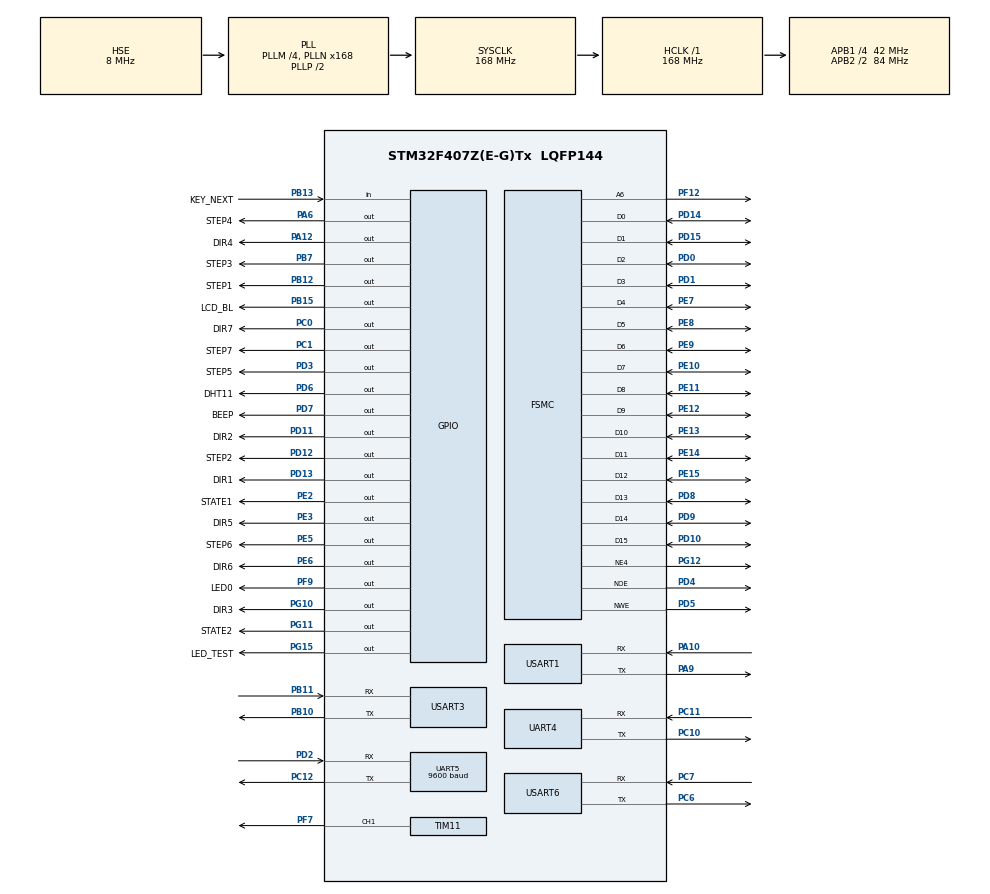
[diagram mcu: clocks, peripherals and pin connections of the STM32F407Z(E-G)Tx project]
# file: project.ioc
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FSMC.BusTurnAroundDuration1=0
FSMC.DataSetupTime1=60
FSMC.ExtendedAddressSetupTime1=8
FSMC.ExtendedBusTurnAroundDuration1=0
FSMC.ExtendedDataSetupTime1=8
FSMC.ExtendedMode1=FSMC_EXTENDED_MODE_ENABLE
Mcu.Family=STM32F4
Mcu.Name=STM32F407Z(E-G)Tx
Mcu.Package=LQFP144
NVIC.PriorityGroup=NVIC_PRIORITYGROUP_4
NVIC.UART4_IRQn=true\:0\:0\:false\:false\:true\:true\:true
NVIC.UART5_IRQn=true\:0\:0\:false\:false\:true\:true\:true
NVIC.USART1_IRQn=true\:1\:0\:true\:false\:true\:true\:true
NVIC.USART3_IRQn=true\:0\:0\:false\:false\:true\:true\:true
NVIC.USART6_IRQn=true\:1\:0\:true\:false\:true\:true\:true
PA10.Mode=Asynchronous
PA10.Signal=USART1_RX
PA12.GPIO_Label=DIR4
PA12.GPIO_Speed=GPIO_SPEED_FREQ_HIGH
PA12.PinState=GPIO_PIN_SET
PA12.Signal=GPIO_Output
PA13.Mode=Serial_Wire
PA13.Signal=SYS_JTMS-SWDIO
PA14.Mode=Serial_Wire
PA14.Signal=SYS_JTCK-SWCLK
PA6.GPIO_Label=STEP4
PA6.GPIO_Speed=GPIO_SPEED_FREQ_HIGH
PA6.Signal=GPIO_Output
PA9.Mode=Asynchronous
PA9.Signal=USART1_TX
PB10.Mode=Asynchronous
PB10.Signal=USART3_TX
PB11.Mode=Asynchronous
PB11.Signal=USART3_RX
PB12.GPIO_Label=STEP1
PB12.GPIO_Speed=GPIO_SPEED_FREQ_HIGH
PB12.PinState=GPIO_PIN_RESET
PB12.Signal=GPIO_Output
PB13.GPIO_Label=KEY_NEXT
PB13.Signal=GPIO_Input
PB15.GPIO_Label=LCD_BL
PB15.GPIO_Speed=GPIO_SPEED_FREQ_LOW
PB15.Signal=GPIO_Output
PB7.GPIO_Label=STEP3
PB7.GPIO_Speed=GPIO_SPEED_FREQ_HIGH
PB7.Signal=GPIO_Output
PC0.GPIO_Label=DIR7
PC0.GPIO_Speed=GPIO_SPEED_FREQ_HIGH
PC0.PinState=GPIO_PIN_SET
PC0.Signal=GPIO_Output
PC1.GPIO_Label=STEP7
PC1.GPIO_Speed=GPIO_SPEED_FREQ_HIGH
PC1.Signal=GPIO_Output
PC10.Mode=Asynchronous
PC10.Signal=UART4_TX
PC11.Mode=Asynchronous
PC11.Signal=UART4_RX
PC12.Mode=Asynchronous
PC12.Signal=UART5_TX
PC14-OSC32_IN.Mode=LSE-External-Oscillator
PC14-OSC32_IN.Signal=RCC_OSC32_IN
PC15-OSC32_OUT.Mode=LSE-External-Oscillator
PC15-OSC32_OUT.Signal=RCC_OSC32_OUT
PC6.Mode=Asynchronous
PC6.Signal=USART6_TX
PC7.Mode=Asynchronous
PC7.Signal=USART6_RX
PD0.Signal=FSMC_D2_DA2
PD1.Signal=FSMC_D3_DA3
PD10.Signal=FSMC_D15_DA15
PD11.GPIO_Label=DIR2
PD11.GPIO_Speed=GPIO_SPEED_FREQ_HIGH
PD11.PinState=GPIO_PIN_SET
PD11.Signal=GPIO_Output
PD12.GPIO_Label=STEP2
PD12.GPIO_Speed=GPIO_SPEED_FREQ_HIGH
PD12.Signal=GPIO_Output
PD13.GPIO_Label=DIR1
PD13.GPIO_Speed=GPIO_SPEED_FREQ_HIGH
PD13.PinState=GPIO_PIN_SET
PD13.Signal=GPIO_Output
PD14.Signal=FSMC_D0_DA0
PD15.Signal=FSMC_D1_DA1
PD2.Mode=Asynchronous
PD2.Signal=UART5_RX
PD3.GPIO_Label=STEP5
PD3.GPIO_Speed=GPIO_SPEED_FREQ_HIGH
PD3.PinState=GPIO_PIN_RESET
PD3.Signal=GPIO_Output
PD4.Signal=FSMC_NOE
PD5.Signal=FSMC_NWE
PD6.GPIO_Label=DHT11
PD6.GPIO_Speed=GPIO_SPEED_FREQ_HIGH
PD6.Signal=GPIO_Output
PD7.GPIO_Label=BEEP
PD7.GPIO_Speed=GPIO_SPEED_FREQ_HIGH
PD7.PinState=GPIO_PIN_SET
PD7.Signal=GPIO_Output
PD8.Signal=FSMC_D13_DA13
PD9.Signal=FSMC_D14_DA14
PE10.Signal=FSMC_D7_DA7
PE11.Signal=FSMC_D8_DA8
PE12.Signal=FSMC_D9_DA9
PE13.Signal=FSMC_D10_DA10
PE14.Signal=FSMC_D11_DA11
PE15.Signal=FSMC_D12_DA12
PE2.GPIO_Label=STATE1
PE2.GPIO_PuPd=GPIO_NOPULL
PE2.GPIO_Speed=GPIO_SPEED_FREQ_VERY_HIGH
PE2.PinState=GPIO_PIN_SET
PE2.Signal=GPIO_Output
PE3.GPIO_Label=DIR5
PE3.GPIO_Speed=GPIO_SPEED_FREQ_HIGH
PE3.PinState=GPIO_PIN_SET
PE3.Signal=GPIO_Output
PE5.GPIO_Label=STEP6
PE5.GPIO_Speed=GPIO_SPEED_FREQ_HIGH
PE5.Signal=GPIO_Output
PE6.GPIO_Label=DIR6
PE6.GPIO_Speed=GPIO_SPEED_FREQ_HIGH
PE6.PinState=GPIO_PIN_SET
PE6.Signal=GPIO_Output
PE7.Signal=FSMC_D4_DA4
PE8.Signal=FSMC_D5_DA5
PE9.Signal=FSMC_D6_DA6
PF12.Signal=FSMC_A6
PF7.Signal=S_TIM11_CH1
PF9.GPIO_Label=LED0
PF9.GPIO_PuPd=GPIO_PULLUP
PF9.GPIO_Speed=GPIO_SPEED_FREQ_HIGH
PF9.PinState=GPIO_PIN_SET
PF9.Signal=GPIO_Output
PG10.GPIO_Label=DIR3
PG10.GPIO_Speed=GPIO_SPEED_FREQ_HIGH
PG10.PinState=GPIO_PIN_SET
PG10.Signal=GPIO_Output
PG11.GPIO_Label=STATE2
PG11.GPIO_PuPd=GPIO_PULLDOWN
PG11.GPIO_Speed=GPIO_SPEED_FREQ_VERY_HIGH
PG11.PinState=GPIO_PIN_RESET
PG11.Signal=GPIO_Output
PG12.Mode=NorPsramChipSelect4_1
PG12.Signal=FSMC_NE4
PG15.GPIO_Label=LED_TEST
PG15.GPIO_ModeDefaultOutputPP=GPIO_MODE_OUTPUT_PP
PG15.GPIO_PuPd=GPIO_NOPULL
PG15.GPIO_Speed=GPIO_SPEED_FREQ_HIGH
PG15.PinState=GPIO_PIN_RESET
PG15.Signal=GPIO_Output
PH0-OSC_IN.Mode=HSE-External-Oscillator
PH0-OSC_IN.Signal=RCC_OSC_IN
PH1-OSC_OUT.Mode=HSE-External-Oscillator
PH1-OSC_OUT.Signal=RCC_OSC_OUT
ProjectManager.HeapSize=0x200
ProjectManager.StackSize=0x400
ProjectManager.TargetToolchain=MDK-ARM V5
RCC.48MHZClocksFreq_Value=84000000
RCC.AHBFreq_Value=168000000
RCC.APB1CLKDivider=RCC_HCLK_DIV4
RCC.APB1Freq_Value=42000000
RCC.APB1TimFreq_Value=84000000
RCC.APB2CLKDivider=RCC_HCLK_DIV2
RCC.APB2Freq_Value=84000000
RCC.APB2TimFreq_Value=168000000
RCC.CortexFreq_Value=168000000
RCC.HCLKFreq_Value=168000000
RCC.HSE_VALUE=8000000
RCC.HSI_VALUE=16000000
RCC.PLLM=4
RCC.PLLN=168
RCC.PLLSourceVirtual=RCC_PLLSOURCE_HSE
RCC.SYSCLKFreq_VALUE=168000000
RCC.SYSCLKSource=RCC_SYSCLKSOURCE_PLLCLK
RCC.VCOOutputFreq_Value=336000000
SH.FSMC_A6.0=FSMC_A6,A6_1
SH.FSMC_D0_DA0.0=FSMC_D0,16b-d1
SH.FSMC_D10_DA10.0=FSMC_D10,16b-d1
SH.FSMC_D11_DA11.0=FSMC_D11,16b-d1
SH.FSMC_D12_DA12.0=FSMC_D12,16b-d1
SH.FSMC_D13_DA13.0=FSMC_D13,16b-d1
SH.FSMC_D14_DA14.0=FSMC_D14,16b-d1
SH.FSMC_D15_DA15.0=FSMC_D15,16b-d1
SH.FSMC_D1_DA1.0=FSMC_D1,16b-d1
SH.FSMC_D2_DA2.0=FSMC_D2,16b-d1
SH.FSMC_D3_DA3.0=FSMC_D3,16b-d1
SH.FSMC_D4_DA4.0=FSMC_D4,16b-d1
SH.FSMC_D5_DA5.0=FSMC_D5,16b-d1
SH.FSMC_D6_DA6.0=FSMC_D6,16b-d1
SH.FSMC_D7_DA7.0=FSMC_D7,16b-d1
SH.FSMC_D8_DA8.0=FSMC_D8,16b-d1
SH.FSMC_D9_DA9.0=FSMC_D9,16b-d1
SH.FSMC_NOE.0=FSMC_NOE,Lcd1
SH.FSMC_NWE.0=FSMC_NWE,Lcd1
SH.S_TIM11_CH1.0=TIM11_CH1,PWM Generation1 CH1
TIM11.Channel=TIM_CHANNEL_1
TIM11.Period=200-1
TIM11.Prescaler=8400-1
TIM11.Pulse=15
TIM5.Prescaler=83
UART4.VirtualMode=Asynchronous
UART5.BaudRate=9600
UART5.VirtualMode=Asynchronous
USART1.VirtualMode=VM_ASYNC
USART3.VirtualMode=VM_ASYNC
USART6.VirtualMode=VM_ASYNC
VP_TIM11_VS_ClockSourceINT.Mode=Enable_Timer
VP_TIM5_VS_ClockSourceINT.Mode=Internal
board=custom

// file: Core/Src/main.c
/* USER CODE BEGIN Header */
/**
  ******************************************************************************
  * @file           : main.c
  * @brief          : Main program body
  ******************************************************************************
  * @attention
  *
  * <h2><center>&copy; Copyright (c) 2022 STMicroelectronics.
  * All rights reserved.</center></h2>
  *
  * This software component is licensed by ST under BSD 3-Clause license,
  * the "License"; You may not use this file except in compliance with the
  * License. You may obtain a copy of the License at:
  *                        opensource.org/licenses/BSD-3-Clause
  *
  ******************************************************************************
  */
/* USER CODE END Header */
#include "main.h"
#include "tim.h"
#include "usart.h"
#include "gpio.h"
#include "fsmc.h"

/* USER CODE BEGIN Includes */
#include "COMMON/bsp_common.h"	//STD基本宏包
#include "COMMON/bsp_device.h"	//外设模块化宏包
/* USER CODE END Includes */

/* USER CODE BEGIN PV */

//dht11变量
DHT11_Data_TypeDef DHT11_Data;

////TCP透传数据变量
//IPD_RX ipd_rx;

//上传数据的buf
char PUB_BUF[256];
const char *devSubTopic[] = {"subTOPIC"};
const char 	devPubTopic[] = 	"pubTOPIC";
uint8_t ESP8266_INIT_OK = 0;//esp8266初始化完成标志

//串口3接收数据变量
uint8_t rx_buffer3[100];

uint8_t usart_counter = 0;
uint8_t usart_IT_flag = 0;

char lcd_std[100];
/* USER CODE END PV */

void SystemClock_Config(void);

int main(void)
{
  /* USER CODE BEGIN 1 */
	//发送间隔变量
	unsigned short timeCount = 0;
	//平台返回数据变量
	unsigned char *dataPtr = NULL;
	//LCD屏幕显示变量

  /* USER CODE END 1 */

  /* MCU Configuration--------------------------------------------------------*/

  /* Reset of all peripherals, Initializes the Flash interface and the Systick. */
  HAL_Init();

  /* Configure the system clock */
  SystemClock_Config();

  /* Initialize all configured peripherals */
  MX_GPIO_Init();
  MX_FSMC_Init();
  MX_TIM5_Init();
  MX_USART6_UART_Init();
  MX_USART1_UART_Init();
  MX_USART3_UART_Init();
  MX_UART4_Init();
  MX_UART5_Init();
  MX_TIM11_Init();
  /* USER CODE BEGIN 2 */

//	MX_GPIO_Init();						//DHT11温湿度模块与BEEP蜂鸣器等
//  MX_FSMC_Init();						//TFTLCD屏幕驱动
//  MX_TIM5_Init();						//定时器延时：	void bsp_delay_us(uint16_t us);
//  MX_USART6_UART_Init();		//INFO串口
//  MX_USART1_UART_Init();		//WIFI模块专用
//	MX_USART3_UART_Init();		//RFRMUM读卡器
//  MX_UART4_Init();					//K210转接板
//  MX_UART5_Init();					//TM512测温模块

	//1.LCD初始化部分//竖屏显示
	LCD_Init();				LCD_DisplayOn();				LCD_Display_Dir(0);					user_main_info("LCD初始化成功\t[OK]\r\n");

	//2.ESP01S连接WIFI等初始化操作
	ESP8266_Init();				user_main_info("ESP01S初始化成功\t[OK]\r\n");

	//3.接入OneNET//接入ONENET成功，蜂鸣器响起提示一下
	while(OneNet_DevLink()){HAL_Delay(500);}				Beep_On;				HAL_Delay(100);				Beep_Off;				user_main_info("连接ONENET成功\t[OK]\r\n");
//	sprintf((char*)lcd_std," ESP01S LINK ONENET SUCCESS!\r\n");				LCD_ShowString(66,186,500,24,24,(uint8_t*)lcd_std);

	//4.订阅话题
	RPRMUM_Init();

	OneNet_Subscribe(devSubTopic, 1);

	HAL_UART_Receive_IT(&huart3,(uint8_t *)rx_buffer3,1);				user_main_info("串口3接收中断开启\t[OK]\r\n");

//	HAL_TIM_Base_Start_IT(&htim11);				HAL_TIM_PWM_Start(&htim11,TIM_CHANNEL_1);				MOTOR_Init();

  /* USER CODE END 2 */

  /* Infinite loop */
  while (1)
  {

    /* USER CODE BEGIN 3 */

		//检查数据回传
		RPRMUM_DataCheck();

		//发送单次读取命令
		RPRMUM_Comm_ReadCard();

		HAL_UART_Receive_IT(&huart3,(uint8_t *)rx_buffer3,1);
		//5.将数据流上传到ONENET
		if(++timeCount >= 100)				//2500ms / 25 = 100 发送间隔2500ms
		{

			//MQTT通信话题内容封装
			sprintf(PUB_BUF,"{\"Hum\":%d.%d,\"Temp\":%d.%d}",DHT11_Data.humi_int,DHT11_Data.humi_deci,DHT11_Data.temp_int,DHT11_Data.temp_deci);

			//将话题内容发布到"pubTOPIC"话题中
			OneNet_Publish(devPubTopic, PUB_BUF);

			//打包数据包发送到ONENET云平台，一次只能打包一个数据流发送，若要发得更快就调整发送时间间隔
			OneNet_SendData();

			//时间间隔计时请0
			timeCount = 0;

			//数据包清空
			ESP8266_Clear();

		}

		//检测平台是否有响应
		dataPtr = ESP8266_GetIPD(3);
		if(dataPtr != NULL)
		OneNet_RevPro(dataPtr);
		HAL_Delay(10);
  }

  /* USER CODE END 3 */
}

void SystemClock_Config(void)
{
  RCC_OscInitTypeDef RCC_OscInitStruct = {0};
  RCC_ClkInitTypeDef RCC_ClkInitStruct = {0};

  /** Configure the main internal regulator output voltage
  */
  __HAL_RCC_PWR_CLK_ENABLE();
  __HAL_PWR_VOLTAGESCALING_CONFIG(PWR_REGULATOR_VOLTAGE_SCALE1);
  /** Initializes the RCC Oscillators according to the specified parameters
  * in the RCC_OscInitTypeDef structure.
  */
  RCC_OscInitStruct.OscillatorType = RCC_OSCILLATORTYPE_HSE;
  RCC_OscInitStruct.HSEState = RCC_HSE_ON;
  RCC_OscInitStruct.PLL.PLLState = RCC_PLL_ON;
  RCC_OscInitStruct.PLL.PLLSource = RCC_PLLSOURCE_HSE;
  RCC_OscInitStruct.PLL.PLLM = 4;
  RCC_OscInitStruct.PLL.PLLN = 168;
  RCC_OscInitStruct.PLL.PLLP = RCC_PLLP_DIV2;
  RCC_OscInitStruct.PLL.PLLQ = 4;
  if (HAL_RCC_OscConfig(&RCC_OscInitStruct) != HAL_OK)
  {
    Error_Handler();
  }
  /** Initializes the CPU, AHB and APB buses clocks
  */
  RCC_ClkInitStruct.ClockType = RCC_CLOCKTYPE_HCLK|RCC_CLOCKTYPE_SYSCLK
                              |RCC_CLOCKTYPE_PCLK1|RCC_CLOCKTYPE_PCLK2;
  RCC_ClkInitStruct.SYSCLKSource = RCC_SYSCLKSOURCE_PLLCLK;
  RCC_ClkInitStruct.AHBCLKDivider = RCC_SYSCLK_DIV1;
  RCC_ClkInitStruct.APB1CLKDivider = RCC_HCLK_DIV4;
  RCC_ClkInitStruct.APB2CLKDivider = RCC_HCLK_DIV2;

  if (HAL_RCC_ClockConfig(&RCC_ClkInitStruct, FLASH_LATENCY_5) != HAL_OK)
  {
    Error_Handler();
  }
}

/* USER CODE BEGIN 4 */
//这里就拿来放一些外设扫描吧

//串口接收中断回调函数
void HAL_UART_RxCpltCallback(UART_HandleTypeDef *huart)
{

	//串口3接收回调函数
	if(huart->Instance == USART3)
	{
		usart_counter++;
		//
		if(usart_counter >= 100&&usart_IT_flag == 1)
		{
			HAL_GPIO_WritePin(GPIOF, LED0_Pin, GPIO_PIN_SET);
			usart_counter = 0;
			usart_IT_flag = 0;
		}
		else if(usart_counter >= 100&&usart_IT_flag == 0)
		{
			HAL_GPIO_WritePin(GPIOF, LED0_Pin, GPIO_PIN_RESET);
			usart_counter = 0;
			usart_IT_flag = 1;
		}
	}
}

/* USER CODE END 4 */

void Error_Handler(void)
{
  __disable_irq();
  while (1)
  {
  }
}

/************************ (C) COPYRIGHT STMicroelectronics *****END OF FILE****/
